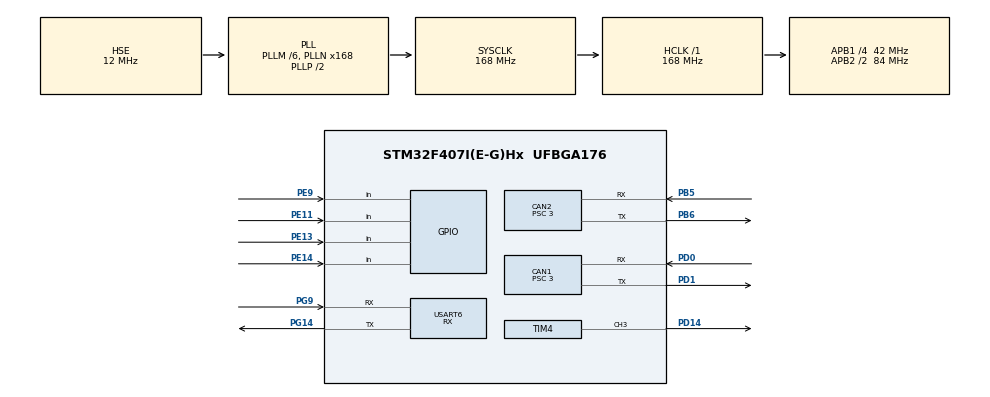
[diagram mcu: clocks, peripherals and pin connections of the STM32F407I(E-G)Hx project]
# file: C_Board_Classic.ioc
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CAN1.BS1=CAN_BS1_9TQ
CAN1.BS2=CAN_BS2_4TQ
CAN1.CalculateBaudRate=1000000
CAN1.CalculateTimeBit=999.99
CAN1.CalculateTimeQuantum=71.42857142857143
CAN1.NART=ENABLE
CAN1.Prescaler=3
CAN2.BS1=CAN_BS1_9TQ
CAN2.BS2=CAN_BS2_4TQ
CAN2.CalculateBaudRate=1000000
CAN2.CalculateTimeBit=999.99
CAN2.CalculateTimeQuantum=71.42857142857143
CAN2.NART=ENABLE
CAN2.Prescaler=3
Dma.Request0=USART6_RX
Dma.USART6_RX.0.Direction=DMA_PERIPH_TO_MEMORY
Dma.USART6_RX.0.FIFOMode=DMA_FIFOMODE_ENABLE
Dma.USART6_RX.0.FIFOThreshold=DMA_FIFO_THRESHOLD_FULL
Dma.USART6_RX.0.Instance=DMA2_Stream1
Dma.USART6_RX.0.MemBurst=DMA_MBURST_SINGLE
Dma.USART6_RX.0.MemDataAlignment=DMA_MDATAALIGN_BYTE
Dma.USART6_RX.0.MemInc=DMA_MINC_ENABLE
Dma.USART6_RX.0.Mode=DMA_NORMAL
Dma.USART6_RX.0.PeriphBurst=DMA_PBURST_SINGLE
Dma.USART6_RX.0.PeriphDataAlignment=DMA_PDATAALIGN_BYTE
Dma.USART6_RX.0.PeriphInc=DMA_PINC_DISABLE
Dma.USART6_RX.0.Priority=DMA_PRIORITY_LOW
Mcu.Family=STM32F4
Mcu.Name=STM32F407I(E-G)Hx
Mcu.Package=UFBGA176
NVIC.CAN1_RX0_IRQn=true\:2\:3\:true\:false\:true\:true\:true
NVIC.CAN1_TX_IRQn=true\:2\:2\:true\:false\:true\:true\:true
NVIC.CAN2_RX0_IRQn=true\:1\:2\:true\:false\:true\:true\:true
NVIC.CAN2_TX_IRQn=true\:1\:1\:true\:false\:true\:true\:true
NVIC.DMA2_Stream1_IRQn=true\:0\:0\:false\:false\:true\:false\:true
NVIC.PriorityGroup=NVIC_PRIORITYGROUP_2
NVIC.TIM1_UP_TIM10_IRQn=true\:2\:1\:true\:false\:true\:true\:true
NVIC.TIM2_IRQn=true\:3\:1\:true\:false\:true\:true\:true
NVIC.TIM6_DAC_IRQn=true\:3\:3\:true\:false\:true\:true\:true
NVIC.USART6_IRQn=true\:1\:3\:true\:false\:true\:true\:true
PA13.Mode=Serial_Wire
PA13.Signal=SYS_JTMS-SWDIO
PA14.Mode=Serial_Wire
PA14.Signal=SYS_JTCK-SWCLK
PB5.Mode=CAN_Activate
PB5.Signal=CAN2_RX
PB6.Mode=CAN_Activate
PB6.Signal=CAN2_TX
PD0.Mode=CAN_Activate
PD0.Signal=CAN1_RX
PD1.Mode=CAN_Activate
PD1.Signal=CAN1_TX
PD14.Signal=S_TIM4_CH3
PE11.Signal=GPIO_Input
PE13.Signal=GPIO_Input
PE14.Signal=GPIO_Input
PE9.Signal=GPIO_Input
PG14.Mode=Asynchronous
PG14.Signal=USART6_TX
PG9.Mode=Asynchronous
PG9.Signal=USART6_RX
PH0-OSC_IN.Mode=HSE-External-Oscillator
PH0-OSC_IN.Signal=RCC_OSC_IN
PH1-OSC_OUT.Mode=HSE-External-Oscillator
PH1-OSC_OUT.Signal=RCC_OSC_OUT
ProjectManager.HeapSize=0x200
ProjectManager.StackSize=0x400
ProjectManager.TargetToolchain=MDK-ARM V5
RCC.48MHZClocksFreq_Value=84000000
RCC.AHBFreq_Value=168000000
RCC.APB1CLKDivider=RCC_HCLK_DIV4
RCC.APB1Freq_Value=42000000
RCC.APB1TimFreq_Value=84000000
RCC.APB2CLKDivider=RCC_HCLK_DIV2
RCC.APB2Freq_Value=84000000
RCC.APB2TimFreq_Value=168000000
RCC.CortexFreq_Value=168000000
RCC.HCLKFreq_Value=168000000
RCC.HSE_VALUE=12000000
RCC.HSI_VALUE=16000000
RCC.LSE_VALUE=32768
RCC.PLLM=6
RCC.PLLN=168
RCC.PLLSourceVirtual=RCC_PLLSOURCE_HSE
RCC.SYSCLKFreq_VALUE=168000000
RCC.SYSCLKSource=RCC_SYSCLKSOURCE_PLLCLK
RCC.VCOOutputFreq_Value=336000000
SH.S_TIM4_CH3.0=TIM4_CH3,PWM Generation3 CH3
TIM1.Period=5000-1
TIM1.Prescaler=84-1
TIM2.Period=1000-1
TIM2.Prescaler=42000-1
TIM4.Channel-PWM\ Generation3\ CH3=TIM_CHANNEL_3
TIM4.Period=20999
TIM6.Period=10-1
TIM6.Prescaler=8400-1
USART6.Mode=MODE_RX
USART6.VirtualMode=VM_ASYNC
VP_TIM1_VS_ClockSourceINT.Mode=Internal
VP_TIM2_VS_ClockSourceINT.Mode=Internal
VP_TIM4_VS_ClockSourceINT.Mode=Internal
VP_TIM6_VS_ClockSourceINT.Mode=Enable_Timer
board=custom

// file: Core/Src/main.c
/* USER CODE BEGIN Header */
/**
  ******************************************************************************
  * @file           : main.c
  * @brief          : Main program body
  ******************************************************************************
  * @attention
  *
  * <h2><center>&copy; Copyright (c) 2021 STMicroelectronics.
  * All rights reserved.</center></h2>
  *
  * This software component is licensed by ST under BSD 3-Clause license,
  * the "License"; You may not use this file except in compliance with the
  * License. You may obtain a copy of the License at:
  *                        opensource.org/licenses/BSD-3-Clause
  *
  ******************************************************************************
  */
/* USER CODE END Header */
#include "main.h"
#include "can.h"
#include "dma.h"
#include "tim.h"
#include "usart.h"
#include "gpio.h"

/* USER CODE BEGIN Includes */
#include "bsp_can.h"
#include "classic.h"
#include "shoot.h"
#include "judge.h"
#include "bsp_usart.h"
#include <stdio.h>
#include <stdlib.h>
#include "buzzer.h"
/* USER CODE END Includes */

void SystemClock_Config(void);

int main(void)
{

  /* MCU Configuration--------------------------------------------------------*/

  /* Reset of all peripherals, Initializes the Flash interface and the Systick. */
  HAL_Init();

  /* Configure the system clock */
  SystemClock_Config();

  /* Initialize all configured peripherals */
  MX_GPIO_Init();
  MX_DMA_Init();
  MX_CAN1_Init();
  MX_CAN2_Init();
  MX_TIM1_Init();
  MX_USART6_UART_Init();
  MX_TIM2_Init();
  MX_TIM4_Init();
  MX_TIM6_Init();
  /* USER CODE BEGIN 2 */
	srand(0xCC); //随机数种子初始化
	Bsp_UART_Receive_IT(&huart6,Judgement_Buf,JUDGEMENT_BUF_LEN); //裁判系统串口
	CAN_Filter_Init();  //can总线初始化
	Chassis_init();   //底盘PID初始化
	gear_moto_position_pid_init();  //拨弹PID初始化
  // Rand_Speed_Up_Init();   //Init random speed up time
	HAL_TIM_Base_Start_IT(&htim1);	// 400Hz
	Buzzer_Init();  //蜂鸣器初始化
	HAL_TIM_Base_Start_IT(&htim6);	// 1kHz
  /* USER CODE END 2 */

  /* Infinite loop */
  while (1)
  {

  }
}

void SystemClock_Config(void)
{
  RCC_OscInitTypeDef RCC_OscInitStruct = {0};
  RCC_ClkInitTypeDef RCC_ClkInitStruct = {0};

  /** Configure the main internal regulator output voltage
  */
  __HAL_RCC_PWR_CLK_ENABLE();
  __HAL_PWR_VOLTAGESCALING_CONFIG(PWR_REGULATOR_VOLTAGE_SCALE1);
  /** Initializes the RCC Oscillators according to the specified parameters
  * in the RCC_OscInitTypeDef structure.
  */
  RCC_OscInitStruct.OscillatorType = RCC_OSCILLATORTYPE_HSE;
  RCC_OscInitStruct.HSEState = RCC_HSE_ON;
  RCC_OscInitStruct.PLL.PLLState = RCC_PLL_ON;
  RCC_OscInitStruct.PLL.PLLSource = RCC_PLLSOURCE_HSE;
  RCC_OscInitStruct.PLL.PLLM = 6;
  RCC_OscInitStruct.PLL.PLLN = 168;
  RCC_OscInitStruct.PLL.PLLP = RCC_PLLP_DIV2;
  RCC_OscInitStruct.PLL.PLLQ = 4;
  if (HAL_RCC_OscConfig(&RCC_OscInitStruct) != HAL_OK)
  {
    Error_Handler();
  }
  /** Initializes the CPU, AHB and APB buses clocks
  */
  RCC_ClkInitStruct.ClockType = RCC_CLOCKTYPE_HCLK|RCC_CLOCKTYPE_SYSCLK
                              |RCC_CLOCKTYPE_PCLK1|RCC_CLOCKTYPE_PCLK2;
  RCC_ClkInitStruct.SYSCLKSource = RCC_SYSCLKSOURCE_PLLCLK;
  RCC_ClkInitStruct.AHBCLKDivider = RCC_SYSCLK_DIV1;
  RCC_ClkInitStruct.APB1CLKDivider = RCC_HCLK_DIV4;
  RCC_ClkInitStruct.APB2CLKDivider = RCC_HCLK_DIV2;

  if (HAL_RCC_ClockConfig(&RCC_ClkInitStruct, FLASH_LATENCY_5) != HAL_OK)
  {
    Error_Handler();
  }
}

void Error_Handler(void)
{
  __disable_irq();
  while (1)
  {
  }
}

/************************ (C) COPYRIGHT STMicroelectronics *****END OF FILE****/
